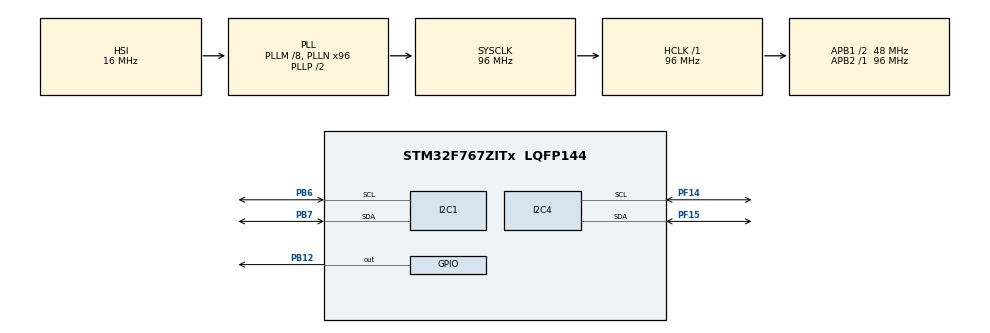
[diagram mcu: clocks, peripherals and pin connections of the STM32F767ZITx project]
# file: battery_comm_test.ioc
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CORTEX_M7.default_mode_Activation=1
I2C1.Timing=0x20303E5D
I2C4.Timing=0x20303E5D
Mcu.Family=STM32F7
Mcu.Name=STM32F767ZITx
Mcu.Package=LQFP144
NVIC.PriorityGroup=NVIC_PRIORITYGROUP_4
PB12.Signal=GPIO_Output
PB6.GPIO_Pu=GPIO_PULLUP
PB6.Mode=I2C
PB6.Signal=I2C1_SCL
PB7.GPIO_Pu=GPIO_PULLUP
PB7.Mode=I2C
PB7.Signal=I2C1_SDA
PF14.GPIO_Pu=GPIO_PULLUP
PF14.Mode=I2C
PF14.Signal=I2C4_SCL
PF15.GPIO_Pu=GPIO_PULLUP
PF15.Mode=I2C
PF15.Signal=I2C4_SDA
ProjectManager.HeapSize=0x200
ProjectManager.StackSize=0x400
ProjectManager.TargetToolchain=STM32CubeIDE
RCC.AHBFreq_Value=96000000
RCC.APB1CLKDivider=RCC_HCLK_DIV2
RCC.APB1Freq_Value=48000000
RCC.APB1TimFreq_Value=96000000
RCC.APB2Freq_Value=96000000
RCC.APB2TimFreq_Value=96000000
RCC.CortexFreq_Value=96000000
RCC.HCLKFreq_Value=96000000
RCC.HSE_VALUE=25000000
RCC.HSI_VALUE=16000000
RCC.LSE_VALUE=32768
RCC.PLLM=8
RCC.PLLN=96
RCC.SYSCLKFreq_VALUE=96000000
RCC.SYSCLKSource=RCC_SYSCLKSOURCE_PLLCLK
RCC.USBFreq_Value=96000000
RCC.VCOOutputFreq_Value=192000000
board=custom

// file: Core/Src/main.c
/* USER CODE BEGIN Header */
/**
  ******************************************************************************
  * @file           : main.c
  * @brief          : Main program body
  ******************************************************************************
  * @attention
  *
  * Copyright (c) 2025 STMicroelectronics.
  * All rights reserved.
  *
  * This software is licensed under terms that can be found in the LICENSE file
  * in the root directory of this software component.
  * If no LICENSE file comes with this software, it is provided AS-IS.
  *
  ******************************************************************************
  */
/* USER CODE END Header */
#include "main.h"

/* USER CODE BEGIN Includes */
#include "i2c-lcd.h"
/* USER CODE END Includes */

/* USER CODE BEGIN PM */
#define BATT_SLAVE_ADDRESS 0x0B  // must shift to the left (<<1) when passed to HAL function

// Memory addresses
#define BATT_STATUS_ADDR			0x0D
#define BATT_VOLTAGE_LVL_ADDR	0x0F
/* USER CODE END PM */

I2C_HandleTypeDef hi2c1;
I2C_HandleTypeDef hi2c4;

/* USER CODE BEGIN PV */
uint16_t batt_status;
uint16_t batt_voltage;
/* USER CODE END PV */

void SystemClock_Config(void);
static void MPU_Config(void);
static void MX_GPIO_Init(void);
static void MX_I2C4_Init(void);
static void MX_I2C1_Init(void);
/* USER CODE BEGIN PFP */
uint16_t read_battery_status(I2C_HandleTypeDef* hi2c_device);
uint16_t read_battery_voltage(I2C_HandleTypeDef* hi2c_device);
/* USER CODE END PFP */

/* USER CODE BEGIN 0 */

// Function to read battery status
uint16_t read_battery_status(I2C_HandleTypeDef* hi2c_device) {
	uint8_t raw_data[2];
	// Read battery status
	HAL_I2C_Mem_Read(hi2c_device, BATT_SLAVE_ADDRESS<<1, BATT_STATUS_ADDR, I2C_MEMADD_SIZE_8BIT, raw_data, 2, 100);
	// Put reading in its own variable
	uint16_t status = (((uint16_t)((uint8_t *)(raw_data))[1] << 8) | ((uint8_t *)(raw_data))[0]);
	return status;

}

// Function to read battery voltage (in mV)
uint16_t read_battery_voltage(I2C_HandleTypeDef* hi2c_device) {
	uint8_t raw_data[2];
	// Read the battery voltage
	HAL_I2C_Mem_Read(hi2c_device, BATT_SLAVE_ADDRESS<<1, BATT_VOLTAGE_LVL_ADDR, I2C_MEMADD_SIZE_8BIT, raw_data, 2, 100);
	// Put reading in its own variable
	uint16_t voltage = (((uint16_t)((uint8_t *)(raw_data))[1] << 8) | ((uint8_t *)(raw_data))[0]);
	return voltage;

}

/* USER CODE END 0 */

int main(void)
{

  /* MPU Configuration--------------------------------------------------------*/
  MPU_Config();

  /* MCU Configuration--------------------------------------------------------*/

  /* Reset of all peripherals, Initializes the Flash interface and the Systick. */
  HAL_Init();

  /* Configure the system clock */
  SystemClock_Config();

  /* Initialize all configured peripherals */
  MX_GPIO_Init();
  MX_I2C4_Init();
  MX_I2C1_Init();
  /* USER CODE BEGIN 2 */
  HAL_GPIO_WritePin(GPIOB, GPIO_PIN_12, 1);
  lcd_init();
  lcd_put_cur(1, 0);
  lcd_send_string("V = ");
  /* USER CODE END 2 */

  /* Infinite loop */
  while (1)
  {

    /* USER CODE BEGIN 3 */
	  HAL_Delay(100);

	  // Read Battery status
	  batt_status = read_battery_status(&hi2c4);
	  /*
	  lcd_put_cur(0, 0);
	  lcd_send_data(((batt_status / 10000) % 10) + 48);   // 10000th pos
	  lcd_send_data(((batt_status / 1000) % 10) + 48);   // 1000th pos
	  lcd_send_data(((batt_status / 100) % 10) + 48);   // 100th pos
	  lcd_send_data(((batt_status / 10) % 10) + 48);  // 10th pos
	  lcd_send_data((batt_status % 10) + 48);  // 1st pos
	  */

	  // Read Battery Voltage
	  batt_voltage = read_battery_voltage(&hi2c4);
	  lcd_put_cur(1, 4);
	  lcd_send_data(((batt_voltage / 10000) % 10) + 48);   // 10000th pos
	  lcd_send_data(((batt_voltage / 1000) % 10) + 48);   // 1000th pos
	  lcd_send_data(((batt_voltage / 100) % 10) + 48);   // 100th pos
	  lcd_send_data(((batt_voltage / 10) % 10) + 48);  // 10th pos
	  lcd_send_data((batt_voltage % 10) + 48);  // 1st pos

  }
  /* USER CODE END 3 */
}

void SystemClock_Config(void)
{
  RCC_OscInitTypeDef RCC_OscInitStruct = {0};
  RCC_ClkInitTypeDef RCC_ClkInitStruct = {0};

  /** Configure the main internal regulator output voltage
  */
  __HAL_RCC_PWR_CLK_ENABLE();
  __HAL_PWR_VOLTAGESCALING_CONFIG(PWR_REGULATOR_VOLTAGE_SCALE3);

  /** Initializes the RCC Oscillators according to the specified parameters
  * in the RCC_OscInitTypeDef structure.
  */
  RCC_OscInitStruct.OscillatorType = RCC_OSCILLATORTYPE_HSI;
  RCC_OscInitStruct.HSIState = RCC_HSI_ON;
  RCC_OscInitStruct.HSICalibrationValue = RCC_HSICALIBRATION_DEFAULT;
  RCC_OscInitStruct.PLL.PLLState = RCC_PLL_ON;
  RCC_OscInitStruct.PLL.PLLSource = RCC_PLLSOURCE_HSI;
  RCC_OscInitStruct.PLL.PLLM = 8;
  RCC_OscInitStruct.PLL.PLLN = 96;
  RCC_OscInitStruct.PLL.PLLP = RCC_PLLP_DIV2;
  RCC_OscInitStruct.PLL.PLLQ = 2;
  RCC_OscInitStruct.PLL.PLLR = 2;
  if (HAL_RCC_OscConfig(&RCC_OscInitStruct) != HAL_OK)
  {
    Error_Handler();
  }

  /** Activate the Over-Drive mode
  */
  if (HAL_PWREx_EnableOverDrive() != HAL_OK)
  {
    Error_Handler();
  }

  /** Initializes the CPU, AHB and APB buses clocks
  */
  RCC_ClkInitStruct.ClockType = RCC_CLOCKTYPE_HCLK|RCC_CLOCKTYPE_SYSCLK
                              |RCC_CLOCKTYPE_PCLK1|RCC_CLOCKTYPE_PCLK2;
  RCC_ClkInitStruct.SYSCLKSource = RCC_SYSCLKSOURCE_PLLCLK;
  RCC_ClkInitStruct.AHBCLKDivider = RCC_SYSCLK_DIV1;
  RCC_ClkInitStruct.APB1CLKDivider = RCC_HCLK_DIV2;
  RCC_ClkInitStruct.APB2CLKDivider = RCC_HCLK_DIV1;

  if (HAL_RCC_ClockConfig(&RCC_ClkInitStruct, FLASH_LATENCY_3) != HAL_OK)
  {
    Error_Handler();
  }
}

static void MX_I2C1_Init(void)
{

  hi2c1.Instance = I2C1;
  hi2c1.Init.Timing = 0x20303E5D;
  hi2c1.Init.OwnAddress1 = 0;
  hi2c1.Init.AddressingMode = I2C_ADDRESSINGMODE_7BIT;
  hi2c1.Init.DualAddressMode = I2C_DUALADDRESS_DISABLE;
  hi2c1.Init.OwnAddress2 = 0;
  hi2c1.Init.OwnAddress2Masks = I2C_OA2_NOMASK;
  hi2c1.Init.GeneralCallMode = I2C_GENERALCALL_DISABLE;
  hi2c1.Init.NoStretchMode = I2C_NOSTRETCH_DISABLE;
  if (HAL_I2C_Init(&hi2c1) != HAL_OK)
  {
    Error_Handler();
  }

  /** Configure Analogue filter
  */
  if (HAL_I2CEx_ConfigAnalogFilter(&hi2c1, I2C_ANALOGFILTER_ENABLE) != HAL_OK)
  {
    Error_Handler();
  }

  /** Configure Digital filter
  */
  if (HAL_I2CEx_ConfigDigitalFilter(&hi2c1, 0) != HAL_OK)
  {
    Error_Handler();
  }

}

static void MX_I2C4_Init(void)
{

  hi2c4.Instance = I2C4;
  hi2c4.Init.Timing = 0x20303E5D;
  hi2c4.Init.OwnAddress1 = 0;
  hi2c4.Init.AddressingMode = I2C_ADDRESSINGMODE_7BIT;
  hi2c4.Init.DualAddressMode = I2C_DUALADDRESS_DISABLE;
  hi2c4.Init.OwnAddress2 = 0;
  hi2c4.Init.OwnAddress2Masks = I2C_OA2_NOMASK;
  hi2c4.Init.GeneralCallMode = I2C_GENERALCALL_DISABLE;
  hi2c4.Init.NoStretchMode = I2C_NOSTRETCH_DISABLE;
  if (HAL_I2C_Init(&hi2c4) != HAL_OK)
  {
    Error_Handler();
  }

  /** Configure Analogue filter
  */
  if (HAL_I2CEx_ConfigAnalogFilter(&hi2c4, I2C_ANALOGFILTER_ENABLE) != HAL_OK)
  {
    Error_Handler();
  }

  /** Configure Digital filter
  */
  if (HAL_I2CEx_ConfigDigitalFilter(&hi2c4, 0) != HAL_OK)
  {
    Error_Handler();
  }

}

static void MX_GPIO_Init(void)
{
  GPIO_InitTypeDef GPIO_InitStruct = {0};

  /* GPIO Ports Clock Enable */
  __HAL_RCC_GPIOF_CLK_ENABLE();
  __HAL_RCC_GPIOB_CLK_ENABLE();

  /*Configure GPIO pin Output Level */
  HAL_GPIO_WritePin(GPIOB, GPIO_PIN_12, GPIO_PIN_RESET);

  /*Configure GPIO pin : PB12 */
  GPIO_InitStruct.Pin = GPIO_PIN_12;
  GPIO_InitStruct.Mode = GPIO_MODE_OUTPUT_PP;
  GPIO_InitStruct.Pull = GPIO_NOPULL;
  GPIO_InitStruct.Speed = GPIO_SPEED_FREQ_LOW;
  HAL_GPIO_Init(GPIOB, &GPIO_InitStruct);

}

 /* MPU Configuration */

void MPU_Config(void)
{
  MPU_Region_InitTypeDef MPU_InitStruct = {0};

  /* Disables the MPU */
  HAL_MPU_Disable();

  /** Initializes and configures the Region and the memory to be protected
  */
  MPU_InitStruct.Enable = MPU_REGION_ENABLE;
  MPU_InitStruct.Number = MPU_REGION_NUMBER0;
  MPU_InitStruct.BaseAddress = 0x0;
  MPU_InitStruct.Size = MPU_REGION_SIZE_4GB;
  MPU_InitStruct.SubRegionDisable = 0x87;
  MPU_InitStruct.TypeExtField = MPU_TEX_LEVEL0;
  MPU_InitStruct.AccessPermission = MPU_REGION_NO_ACCESS;
  MPU_InitStruct.DisableExec = MPU_INSTRUCTION_ACCESS_DISABLE;
  MPU_InitStruct.IsShareable = MPU_ACCESS_SHAREABLE;
  MPU_InitStruct.IsCacheable = MPU_ACCESS_NOT_CACHEABLE;
  MPU_InitStruct.IsBufferable = MPU_ACCESS_NOT_BUFFERABLE;

  HAL_MPU_ConfigRegion(&MPU_InitStruct);
  /* Enables the MPU */
  HAL_MPU_Enable(MPU_PRIVILEGED_DEFAULT);

}

void Error_Handler(void)
{
  __disable_irq();
  while (1)
  {
  }
}
